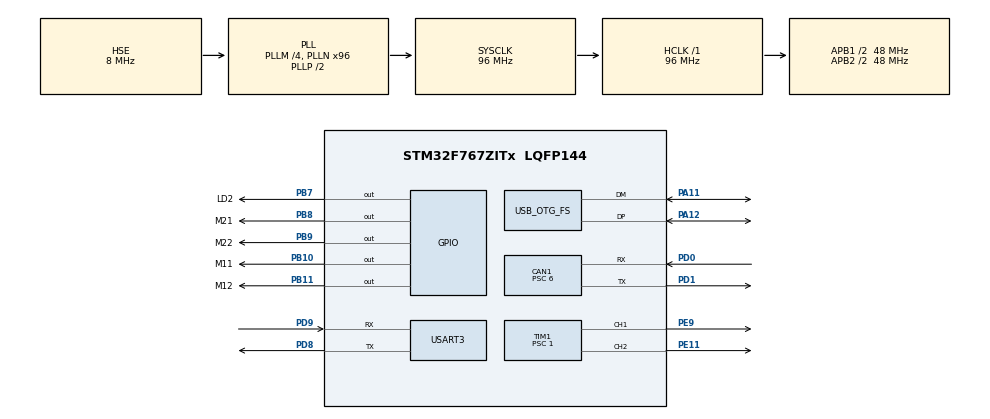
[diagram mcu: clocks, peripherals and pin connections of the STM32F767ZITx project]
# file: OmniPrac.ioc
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CAN1.BS1=CAN_BS1_6TQ
CAN1.CalculateBaudRate=1000000
CAN1.CalculateTimeBit=1000
CAN1.CalculateTimeQuantum=125.0
CAN1.Prescaler=6
CAN1.TXFP=ENABLE
Dma.Request0=USART3_RX
Dma.Request1=USART3_TX
Dma.USART3_RX.0.Direction=DMA_PERIPH_TO_MEMORY
Dma.USART3_RX.0.FIFOMode=DMA_FIFOMODE_DISABLE
Dma.USART3_RX.0.Instance=DMA1_Stream1
Dma.USART3_RX.0.MemDataAlignment=DMA_MDATAALIGN_BYTE
Dma.USART3_RX.0.MemInc=DMA_MINC_ENABLE
Dma.USART3_RX.0.Mode=DMA_CIRCULAR
Dma.USART3_RX.0.PeriphDataAlignment=DMA_PDATAALIGN_BYTE
Dma.USART3_RX.0.PeriphInc=DMA_PINC_DISABLE
Dma.USART3_RX.0.Priority=DMA_PRIORITY_VERY_HIGH
Dma.USART3_TX.1.Direction=DMA_MEMORY_TO_PERIPH
Dma.USART3_TX.1.FIFOMode=DMA_FIFOMODE_DISABLE
Dma.USART3_TX.1.Instance=DMA1_Stream3
Dma.USART3_TX.1.MemDataAlignment=DMA_MDATAALIGN_BYTE
Dma.USART3_TX.1.MemInc=DMA_MINC_ENABLE
Dma.USART3_TX.1.Mode=DMA_NORMAL
Dma.USART3_TX.1.PeriphDataAlignment=DMA_PDATAALIGN_BYTE
Dma.USART3_TX.1.PeriphInc=DMA_PINC_DISABLE
Dma.USART3_TX.1.Priority=DMA_PRIORITY_VERY_HIGH
FREERTOS.Tasks01=defaultTask,48,3000,StartDefaultTask,Default,NULL,Static,defaultTaskBuffer,defaultTaskControlBlock;SysCeckTask,8,512,StartSysCheckTask,Default,NULL,Static,SysCeckTaskBuffer,SysCeckTaskControlBlock;MotorRunTask,40,512,StartMotorRunTask,Default,NULL,Static,MotorRunTaskBuffer,MotorRunTaskControlBlock;EncorderTask,40,512,StartEncorderTask,Default,NULL,Static,EncorderTaskBuffer,EncorderTaskControlBlock
Mcu.Family=STM32F7
Mcu.Name=STM32F767ZITx
Mcu.Package=LQFP144
NVIC.CAN1_RX0_IRQn=true\:5\:0\:false\:false\:true\:true\:true\:true\:true
NVIC.CAN1_RX1_IRQn=true\:5\:0\:false\:false\:true\:true\:true\:true\:true
NVIC.CAN1_TX_IRQn=true\:5\:0\:false\:false\:true\:true\:true\:true\:true
NVIC.DMA1_Stream1_IRQn=true\:5\:0\:false\:false\:true\:true\:false\:true\:true
NVIC.DMA1_Stream3_IRQn=true\:5\:0\:false\:false\:true\:true\:false\:true\:true
NVIC.OTG_FS_IRQn=true\:5\:0\:false\:false\:true\:true\:false\:true\:true
NVIC.PriorityGroup=NVIC_PRIORITYGROUP_4
NVIC.TIM2_IRQn=true\:15\:0\:false\:false\:true\:false\:false\:true\:true
NVIC.TimeBase=TIM2_IRQn
NVIC.TimeBaseIP=TIM2
NVIC.USART3_IRQn=true\:5\:0\:false\:false\:true\:true\:true\:true\:true
PA11.Mode=Device_Only
PA11.Signal=USB_OTG_FS_DM
PA12.Mode=Device_Only
PA12.Signal=USB_OTG_FS_DP
PB10.GPIO_Label=M11
PB10.Signal=GPIO_Output
PB11.GPIO_Label=M12
PB11.Signal=GPIO_Output
PB7.GPIO_Label=LD2
PB7.Signal=GPIO_Output
PB8.GPIO_Label=M21
PB8.Signal=GPIO_Output
PB9.GPIO_Label=M22
PB9.Signal=GPIO_Output
PD0.Mode=CAN_Activate
PD0.Signal=CAN1_RX
PD1.Mode=CAN_Activate
PD1.Signal=CAN1_TX
PD8.Mode=Asynchronous
PD8.Signal=USART3_TX
PD9.Mode=Asynchronous
PD9.Signal=USART3_RX
PE11.Signal=S_TIM1_CH2
PE9.Signal=S_TIM1_CH1
PH0/OSC_IN.Mode=HSE-External-Oscillator
PH0/OSC_IN.Signal=RCC_OSC_IN
PH1/OSC_OUT.Mode=HSE-External-Oscillator
PH1/OSC_OUT.Signal=RCC_OSC_OUT
ProjectManager.HeapSize=0x200
ProjectManager.StackSize=0x400
ProjectManager.TargetToolchain=STM32CubeIDE
RCC.AHBFreq_Value=96000000
RCC.APB1CLKDivider=RCC_HCLK_DIV2
RCC.APB1Freq_Value=48000000
RCC.APB1TimFreq_Value=96000000
RCC.APB2CLKDivider=RCC_HCLK_DIV2
RCC.APB2Freq_Value=48000000
RCC.APB2TimFreq_Value=96000000
RCC.CortexFreq_Value=96000000
RCC.HCLKFreq_Value=96000000
RCC.HSE_VALUE=8000000
RCC.HSI_VALUE=16000000
RCC.LSE_VALUE=32768
RCC.PLLM=4
RCC.PLLN=96
RCC.PLLQ=4
RCC.SYSCLKFreq_VALUE=96000000
RCC.SYSCLKSource=RCC_SYSCLKSOURCE_PLLCLK
RCC.USBFreq_Value=48000000
RCC.VCOOutputFreq_Value=192000000
SH.S_TIM1_CH1.0=TIM1_CH1,PWM Generation1 CH1
SH.S_TIM1_CH2.0=TIM1_CH2,PWM Generation2 CH2
TIM1.Channel-PWM\ Generation1\ CH1=TIM_CHANNEL_1
TIM1.Channel-PWM\ Generation2\ CH2=TIM_CHANNEL_2
TIM1.Period=500
TIM1.Prescaler=1
USART3.VirtualMode-Asynchronous=VM_ASYNC
USB_DEVICE.CLASS_NAME_FS=CDC
USB_DEVICE.VirtualMode-CDC_FS=Cdc
USB_DEVICE.VirtualModeFS=Cdc_FS
USB_OTG_FS.VirtualMode=Device_Only
VP_FREERTOS_VS_CMSIS_V2.Mode=CMSIS_V2
VP_SYS_VS_tim2.Mode=TIM2
VP_USB_DEVICE_VS_USB_DEVICE_CDC_FS.Mode=CDC_FS
board=custom

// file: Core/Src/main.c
/* USER CODE BEGIN Header */
/**
  ******************************************************************************
  * @file           : main.c
  * @brief          : Main program body
  ******************************************************************************
  * @attention
  *
  * Copyright (c) 2023 STMicroelectronics.
  * All rights reserved.
  *
  * This software is licensed under terms that can be found in the LICENSE file
  * in the root directory of this software component.
  * If no LICENSE file comes with this software, it is provided AS-IS.
  *
  ******************************************************************************
  */
/* USER CODE END Header */
#include "main.h"
#include "cmsis_os.h"
#include "can.h"
#include "dma.h"
#include "tim.h"
#include "usart.h"
#include "usb_device.h"
#include "gpio.h"

/* USER CODE BEGIN Includes */
#include "stdio.h"
#include "CAN_Main.h"
/* USER CODE END Includes */

void SystemClock_Config(void);
void MX_FREERTOS_Init(void);

/* USER CODE BEGIN 0 */
#ifdef __GNUC__
#define PUTCHAR_PROTOTYPE int __io_putchar(uint8_t ch)
#else
#define PUTCHAR_PROTOTYPE int fputc(int ch, FILE *f)
#endif /* __GNUC__ */

PUTCHAR_PROTOTYPE {
    HAL_UART_Transmit(&huart3, &ch, 1, 500);
    return ch;
}

/* USER CODE END 0 */

int main(void)
{

  /* MCU Configuration--------------------------------------------------------*/

  /* Reset of all peripherals, Initializes the Flash interface and the Systick. */
  HAL_Init();

  /* Configure the system clock */
  SystemClock_Config();

  /* Initialize all configured peripherals */
  MX_GPIO_Init();
  MX_DMA_Init();
  MX_USART3_UART_Init();
  MX_TIM1_Init();
  MX_CAN1_Init();

  /* Init scheduler */
  osKernelInitialize();  /* Call init function for freertos objects (in freertos.c) */
  MX_FREERTOS_Init();

  /* Start scheduler */
  osKernelStart();

  /* We should never get here as control is now taken by the scheduler */
  /* Infinite loop */
  while (1)
  {

  }
}

void SystemClock_Config(void)
{
  RCC_OscInitTypeDef RCC_OscInitStruct = {0};
  RCC_ClkInitTypeDef RCC_ClkInitStruct = {0};

  /** Configure the main internal regulator output voltage
  */
  __HAL_RCC_PWR_CLK_ENABLE();
  __HAL_PWR_VOLTAGESCALING_CONFIG(PWR_REGULATOR_VOLTAGE_SCALE3);

  /** Initializes the RCC Oscillators according to the specified parameters
  * in the RCC_OscInitTypeDef structure.
  */
  RCC_OscInitStruct.OscillatorType = RCC_OSCILLATORTYPE_HSE;
  RCC_OscInitStruct.HSEState = RCC_HSE_ON;
  RCC_OscInitStruct.PLL.PLLState = RCC_PLL_ON;
  RCC_OscInitStruct.PLL.PLLSource = RCC_PLLSOURCE_HSE;
  RCC_OscInitStruct.PLL.PLLM = 4;
  RCC_OscInitStruct.PLL.PLLN = 96;
  RCC_OscInitStruct.PLL.PLLP = RCC_PLLP_DIV2;
  RCC_OscInitStruct.PLL.PLLQ = 4;
  RCC_OscInitStruct.PLL.PLLR = 2;
  if (HAL_RCC_OscConfig(&RCC_OscInitStruct) != HAL_OK)
  {
    Error_Handler();
  }

  /** Activate the Over-Drive mode
  */
  if (HAL_PWREx_EnableOverDrive() != HAL_OK)
  {
    Error_Handler();
  }

  /** Initializes the CPU, AHB and APB buses clocks
  */
  RCC_ClkInitStruct.ClockType = RCC_CLOCKTYPE_HCLK|RCC_CLOCKTYPE_SYSCLK
                              |RCC_CLOCKTYPE_PCLK1|RCC_CLOCKTYPE_PCLK2;
  RCC_ClkInitStruct.SYSCLKSource = RCC_SYSCLKSOURCE_PLLCLK;
  RCC_ClkInitStruct.AHBCLKDivider = RCC_SYSCLK_DIV1;
  RCC_ClkInitStruct.APB1CLKDivider = RCC_HCLK_DIV2;
  RCC_ClkInitStruct.APB2CLKDivider = RCC_HCLK_DIV2;

  if (HAL_RCC_ClockConfig(&RCC_ClkInitStruct, FLASH_LATENCY_3) != HAL_OK)
  {
    Error_Handler();
  }
}

void HAL_TIM_PeriodElapsedCallback(TIM_HandleTypeDef *htim)
{
  if (htim->Instance == TIM2) {
    HAL_IncTick();
  }
}

void Error_Handler(void)
{
  __disable_irq();
  while (1)
  {
  }
}

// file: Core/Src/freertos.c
/* USER CODE BEGIN Header */
/**
  ******************************************************************************
  * File Name          : freertos.c
  * Description        : Code for freertos applications
  ******************************************************************************
  * @attention
  *
  * Copyright (c) 2023 STMicroelectronics.
  * All rights reserved.
  *
  * This software is licensed under terms that can be found in the LICENSE file
  * in the root directory of this software component.
  * If no LICENSE file comes with this software, it is provided AS-IS.
  *
  ******************************************************************************
  */
/* USER CODE END Header */

#include "FreeRTOS.h"
#include "task.h"
#include "main.h"
#include "cmsis_os.h"

/* USER CODE BEGIN Includes */
#include <stdbool.h>
#include <rcl/rcl.h>
#include <rcl/error_handling.h>
#include <rclc/rclc.h>
#include <rclc/executor.h>
#include <uxr/client/transport.h>
#include <rmw_microxrcedds_c/config.h>
#include <rmw_microros/rmw_microros.h>
#include <std_msgs/msg/int32.h>
#include <std_msgs/msg/string.h>
#include <geometry_msgs/msg/twist.h>
#include "usart.h"
#include "dma.h"
#include "tim.h"
#include "gpio.h"
// カスタムメッセージのインクルード
#include <custom_test_msgs/srv/add_three_ints.h>
#include <drive_msgs/msg/diff_drive.h>
#include <drive_msgs/msg/omni.h>
#include <drive_msgs/msg/omni_enc.h>

//canlibを使うためのinclude
#include "can.h"
#include "CAN_Main.h"
/* USER CODE END Includes */

typedef StaticTask_t osStaticThreadDef_t;

/* USER CODE BEGIN PD */
// エラーハンドリングのためのマクロを設定
#define RCCHECK(fn) { rcl_ret_t temp_rc = fn; if((temp_rc != RCL_RET_OK)){printf("Failed status on line %d: %d. Aborting.\n",__LINE__,(int)temp_rc);}}
#define RCSOFTCHECK(fn) { rcl_ret_t temp_rc = fn; if((temp_rc != RCL_RET_OK)){printf("Failed status on line %d: %d. Continuing.\n",__LINE__,(int)temp_rc);}}

/* USER CODE END PD */

/* USER CODE BEGIN PM */
// サービスのリクエストとレスポンスの構造体を定義
custom_test_msgs__srv__AddThreeInts_Request req;
custom_test_msgs__srv__AddThreeInts_Response res;
drive_msgs__msg__Omni sub;
std_msgs__msg__String pub;
drive_msgs__msg__OmniEnc enc;

//CANモジュール基盤の設定
NUM_OF_DEVICES num_of_devices;

//mcmdの設定
MCMD_HandleTypedef mcmd4M1_struct;
MCMD_Feedback_Typedef mcmdM1_fb;//MCMDM1からのフィードバックを受け取る構造体を定義
MCMD_HandleTypedef mcmd4M2_struct;
MCMD_Feedback_Typedef mcmdM2_fb;//MCMDM2からのフィードバックを受け取る構造体を定義
MCMD_HandleTypedef mcmd4M3_struct;
MCMD_Feedback_Typedef mcmdM3_fb;//MCMDM1からのフィードバックを受け取る構造体を定義
MCMD_HandleTypedef mcmd4M4_struct;
MCMD_Feedback_Typedef mcmdM4_fb;//MCMDM2からのフィードバックを受け取る構造体を定義
MCMD_HandleTypedef mcmd4M5_struct;
MCMD_Feedback_Typedef mcmdM5_fb;//MCMDM2からのフィードバックを受け取る構造体を定義
MCMD_HandleTypedef mcmd4M6_struct;
MCMD_Feedback_Typedef mcmdM6_fb;//MCMDM2からのフィードバックを受け取る構造体を定義

//サーボの設定
CANServo_Param_Typedef servo_param;
CAN_Device servo_device;

//エアシリの設定
CAN_Device air_device;
/* USER CODE END PM */

/* USER CODE BEGIN Variables */
rcl_publisher_t publisher;
rcl_publisher_t encpublisher;
/* USER CODE END Variables */
/* Definitions for defaultTask */
osThreadId_t defaultTaskHandle;
uint32_t defaultTaskBuffer[ 3000 ];
osStaticThreadDef_t defaultTaskControlBlock;
const osThreadAttr_t defaultTask_attributes = {
  .name = "defaultTask",
  .cb_mem = &defaultTaskControlBlock,
  .cb_size = sizeof(defaultTaskControlBlock),
  .stack_mem = &defaultTaskBuffer[0],
  .stack_size = sizeof(defaultTaskBuffer),
  .priority = (osPriority_t) osPriorityRealtime,
};
/* Definitions for SysCeckTask */
osThreadId_t SysCeckTaskHandle;
uint32_t SysCeckTaskBuffer[ 512 ];
osStaticThreadDef_t SysCeckTaskControlBlock;
const osThreadAttr_t SysCeckTask_attributes = {
  .name = "SysCeckTask",
  .cb_mem = &SysCeckTaskControlBlock,
  .cb_size = sizeof(SysCeckTaskControlBlock),
  .stack_mem = &SysCeckTaskBuffer[0],
  .stack_size = sizeof(SysCeckTaskBuffer),
  .priority = (osPriority_t) osPriorityLow,
};
/* Definitions for MotorRunTask */
osThreadId_t MotorRunTaskHandle;
uint32_t MotorRunTaskBuffer[ 512 ];
osStaticThreadDef_t MotorRunTaskControlBlock;
const osThreadAttr_t MotorRunTask_attributes = {
  .name = "MotorRunTask",
  .cb_mem = &MotorRunTaskControlBlock,
  .cb_size = sizeof(MotorRunTaskControlBlock),
  .stack_mem = &MotorRunTaskBuffer[0],
  .stack_size = sizeof(MotorRunTaskBuffer),
  .priority = (osPriority_t) osPriorityHigh,
};
/* Definitions for EncorderTask */
osThreadId_t EncorderTaskHandle;
uint32_t EncorderTaskBuffer[ 512 ];
osStaticThreadDef_t EncorderTaskControlBlock;
const osThreadAttr_t EncorderTask_attributes = {
  .name = "EncorderTask",
  .cb_mem = &EncorderTaskControlBlock,
  .cb_size = sizeof(EncorderTaskControlBlock),
  .stack_mem = &EncorderTaskBuffer[0],
  .stack_size = sizeof(EncorderTaskBuffer),
  .priority = (osPriority_t) osPriorityHigh,
};

/* USER CODE BEGIN FunctionPrototypes */
//このコード固有の変数
bool finishCANsetting = false;
float cmd_motor[4] = {0,0,0,0};

bool cubemx_transport_open(struct uxrCustomTransport * transport);
bool cubemx_transport_close(struct uxrCustomTransport * transport);
size_t cubemx_transport_write(struct uxrCustomTransport* transport, const uint8_t * buf, size_t len, uint8_t * err);
size_t cubemx_transport_read(struct uxrCustomTransport* transport, uint8_t* buf, size_t len, int timeout, uint8_t* err);
void * microros_allocate(size_t size, void * state);
void microros_deallocate(void * pointer, void * state);
void * microros_reallocate(void * pointer, size_t size, void * state);
void * microros_zero_allocate(size_t number_of_elements, size_t size_of_element, void * state);

void HAL_CAN_TxMailbox0CompleteCallback(CAN_HandleTypeDef *hcan){
    WhenTxMailbox0_1_2CompleteCallbackCalled();
}

void HAL_CAN_TxMailbox0AbortCallback(CAN_HandleTypeDef *hcan){
    WhenTxMailbox0_1_2AbortCallbackCalled();
}

void HAL_CAN_TxMailbox1CompleteCallback(CAN_HandleTypeDef *hcan){
    WhenTxMailbox0_1_2CompleteCallbackCalled();
}

void HAL_CAN_TxMailbox1AbortCallback(CAN_HandleTypeDef *hcan){
    WhenTxMailbox0_1_2AbortCallbackCalled();
}

void HAL_CAN_TxMailbox2CompleteCallback(CAN_HandleTypeDef *hcan){
    WhenTxMailbox0_1_2CompleteCallbackCalled();
}

void HAL_CAN_TxMailbox2AbortCallback(CAN_HandleTypeDef *hcan){
    WhenTxMailbox0_1_2AbortCallbackCalled();
}

void HAL_CAN_RxFifo0MsgPendingCallback(CAN_HandleTypeDef *hcan){
    WhenCANRxFifo0MsgPending(hcan, &num_of_devices);
}
//can通信の設定
void canSetting(){
	printf("Start Initializing CAN System:Begin\n\r");
	HAL_Delay(10);

	CAN_SystemInit(&hcan1); // F7のCAN通信のinit

	// デバイス数の設定
	num_of_devices.mcmd3 = 3;
	num_of_devices.mcmd4 = 0;
	num_of_devices.air = 0;
	num_of_devices.servo = 0;

	printf("Start Initializing CAN System:End\n\r");
	HAL_Delay(10);
	CAN_WaitConnect(&num_of_devices);  // 設定された全てのCANモジュール基板との接続が確認できるまで待機
}

//モータ1のmcmd設定
void mcmdMoter1Setting(){
	    // 接続先のMCMDの設定
	    mcmd4M1_struct.device.node_type = NODE_MCMD3;  // nodeのタイプ
	    mcmd4M1_struct.device.node_id = 0;  // 基板の番号 (基板上の半固定抵抗を回す事で設定できる)
	    mcmd4M1_struct.device.device_num = 0;  // モーターの番号(0→M1,1→M2)

	    // 制御パラメータの設定
	    mcmd4M1_struct.ctrl_param.ctrl_type = MCMD_CTRL_VEL;  //制御タイプを設定
	    mcmd4M1_struct.ctrl_param.PID_param.kp = 0.075f;
	    mcmd4M1_struct.ctrl_param.PID_param.ki = 0.025f;
	    mcmd4M1_struct.ctrl_param.PID_param.kd = 0.01f;
	    mcmd4M1_struct.ctrl_param.accel_limit = ACCEL_LIMIT_ENABLE;  // PIDの偏差をclipするか
	    mcmd4M1_struct.ctrl_param.accel_limit_size = 2.0f;  // PIDの偏差をclipする場合の絶対値のmax値
	    mcmd4M1_struct.ctrl_param.feedback = MCMD_FB_ENABLE;  // MCMDからF7にフィードバックを送信するか否か
	    mcmd4M1_struct.ctrl_param.timup_monitor = TIMUP_MONITOR_DISABLE;  // timeupは未実装なのでDISABLE。
	    mcmd4M1_struct.enc_dir = MCMD_DIR_FW;  // Encoderの回転方向設定
	    mcmd4M1_struct.rot_dir = MCMD_DIR_FW;  // モーターの回転方向設定
	    mcmd4M1_struct.quant_per_unit = 1.0/1024.0f; 	 // エンコーダーの分解能に対する制御値の変化量の割合

	    // 原点サーチの設定
	    mcmd4M1_struct.limit_sw_type = LIMIT_SW_NO;  // 原点サーチにNomaly Closedのスイッチを用いる
	    mcmd4M1_struct.calib = CALIBRATION_DISABLE;  // 原点サーチを行うかどうか。
	    mcmd4M1_struct.calib_duty = -0.2f;  // 原点サーチ時のduty
	    mcmd4M1_struct.offset = 0.0f;  // 原点のオフセット
	    mcmd4M1_struct.fb_type = MCMD_FB_POS;  // 読み取った位置情報をF7にフィードバックする。

	    // パラメータなどの設定と動作命令をMCMDに送信する
		 MCMD_init(&mcmd4M1_struct);
		 HAL_Delay(10);
		 MCMD_Calib(&mcmd4M1_struct);  // キャリブレーションを行う
		 HAL_Delay(50);  // キャリブレーションが終わるまで待つ
		 MCMD_SetTarget(&mcmd4M1_struct, 0.00f);  // 目標値を設定
		 MCMD_Control_Enable(&mcmd4M1_struct);  // 制御開始
}

//モータ2のmcmd設定
void mcmdMoter2Setting(){
	    // 接続先のMCMDの設定
	    mcmd4M2_struct.device.node_type = NODE_MCMD3;  // nodeのタイプ
	    mcmd4M2_struct.device.node_id = 0;  // 基板の番号 (基板上の半固定抵抗を回す事で設定できる)
	    mcmd4M2_struct.device.device_num = 1;  // モーターの番号(0→M1,1→M2)

	    // 制御パラメータの設定
	    mcmd4M2_struct.ctrl_param.ctrl_type = MCMD_CTRL_VEL;  //制御タイプを設定
	    mcmd4M2_struct.ctrl_param.PID_param.kp = 0.075f;
	    mcmd4M2_struct.ctrl_param.PID_param.ki = 0.025f;
	    mcmd4M2_struct.ctrl_param.PID_param.kd = 0.01f;
	    mcmd4M2_struct.ctrl_param.accel_limit = ACCEL_LIMIT_ENABLE;  // PIDの偏差をclipするか
	    mcmd4M2_struct.ctrl_param.accel_limit_size = 2.0f;  // PIDの偏差をclipする場合の絶対値のmax値
	    mcmd4M2_struct.ctrl_param.feedback = MCMD_FB_ENABLE;  // MCMDからF7にフィードバックを送信するか否か
	    mcmd4M2_struct.ctrl_param.timup_monitor = TIMUP_MONITOR_DISABLE;  // timeupは未実装なのでDISABLE。
	    mcmd4M2_struct.enc_dir = MCMD_DIR_FW;  // Encoderの回転方向設定
	    mcmd4M2_struct.rot_dir = MCMD_DIR_FW;  // モーターの回転方向設定
	    mcmd4M2_struct.quant_per_unit = 1.0/1024.0f;  // エンコーダーの分解能に対する制御値の変化量の割合

	    // 原点サーチの設定
	    mcmd4M2_struct.limit_sw_type = LIMIT_SW_NO;  // 原点サーチにNomaly Closedのスイッチを用いる
	    mcmd4M2_struct.calib = CALIBRATION_DISABLE;  // 原点サーチを行うかどうか。
	    mcmd4M2_struct.calib_duty = -0.2f;  // 原点サーチ時のduty
	    mcmd4M2_struct.offset = 0.0f;  // 原点のオフセット
	    mcmd4M2_struct.fb_type = MCMD_FB_POS;  // 読み取った位置情報をF7にフィードバックする。

	    // パラメータなどの設定と動作命令をMCMDに送信する
		 MCMD_init(&mcmd4M2_struct);
		 HAL_Delay(10);
		 MCMD_Calib(&mcmd4M2_struct);  // キャリブレーションを行う
		 HAL_Delay(50);  // キャリブレーションが終わるまで待つ
		 MCMD_SetTarget(&mcmd4M2_struct, 0.00f);  // 目標値を設定
		 MCMD_Control_Enable(&mcmd4M2_struct);  // 制御開始
}

void mcmdMoter3Setting(){ //モーターの回転方向異常
	    // 接続先のMCMDの設定
	    mcmd4M3_struct.device.node_type = NODE_MCMD3;  // nodeのタイプ
	    mcmd4M3_struct.device.node_id = 5;  // 基板の番号 (基板上の半固定抵抗を回す事で設定できる)
	    mcmd4M3_struct.device.device_num = 1;  // モーターの番号(0→M1,1→M2)

	    // 制御パラメータの設定
	    mcmd4M3_struct.ctrl_param.ctrl_type = MCMD_CTRL_VEL;  //制御タイプを設定
	    mcmd4M3_struct.ctrl_param.PID_param.kp = 0.075f;
	    mcmd4M3_struct.ctrl_param.PID_param.ki = 0.025f;
	    mcmd4M3_struct.ctrl_param.PID_param.kd = 0.01f;
	    mcmd4M3_struct.ctrl_param.accel_limit = ACCEL_LIMIT_ENABLE;  // PIDの偏差をclipするか
	    mcmd4M3_struct.ctrl_param.accel_limit_size = 2.0f;  // PIDの偏差をclipする場合の絶対値のmax値
	    mcmd4M3_struct.ctrl_param.feedback = MCMD_FB_ENABLE;  // MCMDからF7にフィードバックを送信するか否か
	    mcmd4M3_struct.ctrl_param.timup_monitor = TIMUP_MONITOR_DISABLE;  // timeupは未実装なのでDISABLE。
	    mcmd4M3_struct.enc_dir = MCMD_DIR_FW;  // Encoderの回転方向設定
	    mcmd4M3_struct.rot_dir = MCMD_DIR_BC;  // モーターの回転方向設定
	    mcmd4M3_struct.quant_per_unit = 1.0/1024.0f;   // エンコーダーの分解能に対する制御値の変化量の割合

	    // 原点サーチの設定
	    mcmd4M3_struct.limit_sw_type = LIMIT_SW_NO;  // 原点サーチにNomaly Closedのスイッチを用いる
	    mcmd4M3_struct.calib = CALIBRATION_DISABLE;  // 原点サーチを行うかどうか。
	    mcmd4M3_struct.calib_duty = -0.2f;  // 原点サーチ時のduty
	    mcmd4M3_struct.offset = 0.0f;  // 原点のオフセット
	    mcmd4M3_struct.fb_type = MCMD_FB_POS;  // 読み取った位置情報をF7にフィードバックする。

	    // パラメータなどの設定と動作命令をMCMDに送信する
		 MCMD_init(&mcmd4M3_struct);
		 HAL_Delay(10);
		 MCMD_Calib(&mcmd4M3_struct);  // キャリブレーションを行う
		 HAL_Delay(50);  // キャリブレーションが終わるまで待つ
		 MCMD_SetTarget(&mcmd4M3_struct, 0.00f);  // 目標値を設定
		 MCMD_Control_Enable(&mcmd4M3_struct);  // 制御開始
}

void mcmdMoter4Setting(){
	    // 接続先のMCMDの設定
	    mcmd4M4_struct.device.node_type = NODE_MCMD3;  // nodeのタイプ
	    mcmd4M4_struct.device.node_id =5;  // 基板の番号 (基板上の半固定抵抗を回す事で設定できる)
	    mcmd4M4_struct.device.device_num = 0;  // モーターの番号(0→M1,1→M2)

	    // 制御パラメータの設定
	    mcmd4M4_struct.ctrl_param.ctrl_type = MCMD_CTRL_VEL;  //制御タイプを設定
	    mcmd4M4_struct.ctrl_param.PID_param.kp = 0.075f;
	    mcmd4M4_struct.ctrl_param.PID_param.ki = 0.025f;
	    mcmd4M4_struct.ctrl_param.PID_param.kd = 0.01f;
	    mcmd4M4_struct.ctrl_param.accel_limit = ACCEL_LIMIT_ENABLE;  // PIDの偏差をclipするか
	    mcmd4M4_struct.ctrl_param.accel_limit_size = 2.0f;  // PIDの偏差をclipする場合の絶対値のmax値
	    mcmd4M4_struct.ctrl_param.feedback = MCMD_FB_ENABLE;  // MCMDからF7にフィードバックを送信するか否か
	    mcmd4M4_struct.ctrl_param.timup_monitor = TIMUP_MONITOR_DISABLE;  // timeupは未実装なのでDISABLE。
	    mcmd4M4_struct.enc_dir = MCMD_DIR_FW;  // Encoderの回転方向設定
	    mcmd4M4_struct.rot_dir = MCMD_DIR_FW;  // モーターの回転方向設定
	    mcmd4M4_struct.quant_per_unit = 1.0/1024.0f;   // エンコーダーの分解能に対する制御値の変化量の割合

	    // 原点サーチの設定
	    mcmd4M4_struct.limit_sw_type = LIMIT_SW_NO;  // 原点サーチにNomaly Closedのスイッチを用いる
	    mcmd4M4_struct.calib = CALIBRATION_DISABLE;  // 原点サーチを行うかどうか。
	    mcmd4M4_struct.calib_duty = -0.2f;  // 原点サーチ時のduty
	    mcmd4M4_struct.offset = 0.0f;  // 原点のオフセット
	    mcmd4M4_struct.fb_type = MCMD_FB_POS;  // 読み取った位置情報をF7にフィードバックする。

	    // パラメータなどの設定と動作命令をMCMDに送信する
		 MCMD_init(&mcmd4M4_struct);
		 HAL_Delay(10);
		 MCMD_Calib(&mcmd4M4_struct);  // キャリブレーションを行う
		 HAL_Delay(50);  // キャリブレーションが終わるまで待つ
		 MCMD_SetTarget(&mcmd4M4_struct, 0.00f);  // 目標値を設定
		 MCMD_Control_Enable(&mcmd4M4_struct);  // 制御開始
}

void mcmdMoter5Setting(){
	    // 接続先のMCMDの設定
	    mcmd4M5_struct.device.node_type = NODE_MCMD3;  // nodeのタイプ
	    mcmd4M5_struct.device.node_id =1;  // 基板の番号 (基板上の半固定抵抗を回す事で設定できる)
	    mcmd4M5_struct.device.device_num = 0;  // モーターの番号(0→M1,1→M2)

	    // 制御パラメータの設定
	    mcmd4M5_struct.ctrl_param.ctrl_type = MCMD_CTRL_VEL;  //制御タイプを設定
	    mcmd4M5_struct.ctrl_param.PID_param.kp = 0.075f;
	    mcmd4M5_struct.ctrl_param.PID_param.ki = 0.025f;
	    mcmd4M5_struct.ctrl_param.PID_param.kd = 0.01f;
	    mcmd4M5_struct.ctrl_param.accel_limit = ACCEL_LIMIT_ENABLE;  // PIDの偏差をclipするか
	    mcmd4M5_struct.ctrl_param.accel_limit_size = 2.0f;  // PIDの偏差をclipする場合の絶対値のmax値
	    mcmd4M5_struct.ctrl_param.feedback = MCMD_FB_ENABLE;  // MCMDからF7にフィードバックを送信するか否か
	    mcmd4M5_struct.ctrl_param.timup_monitor = TIMUP_MONITOR_DISABLE;  // timeupは未実装なのでDISABLE。
	    mcmd4M5_struct.enc_dir = MCMD_DIR_BC;  // Encoderの回転方向設定
	    mcmd4M5_struct.rot_dir = MCMD_DIR_BC;  // モーターの回転方向設定
	    mcmd4M5_struct.quant_per_unit = 1.0/1024.0f;  // エンコーダーの分解能に対する制御値の変化量の割合

	    // 原点サーチの設定
	    mcmd4M5_struct.limit_sw_type = LIMIT_SW_NO;  // 原点サーチにNomaly Closedのスイッチを用いる
	    mcmd4M5_struct.calib = CALIBRATION_DISABLE;  // 原点サーチを行うかどうか。
	    mcmd4M5_struct.calib_duty = -0.2f;  // 原点サーチ時のduty
	    mcmd4M5_struct.offset = 0.0f;  // 原点のオフセット
	    mcmd4M5_struct.fb_type = MCMD_FB_POS;  // 読み取った位置情報をF7にフィードバックする。

	    // パラメータなどの設定と動作命令をMCMDに送信する
		 MCMD_init(&mcmd4M5_struct);
		 HAL_Delay(10);
		 MCMD_Calib(&mcmd4M5_struct);  // キャリブレーションを行う
		 HAL_Delay(50);  // キャリブレーションが終わるまで待つ
		 MCMD_SetTarget(&mcmd4M5_struct, 0.00f);  // 目標値を設定
		 MCMD_Control_Enable(&mcmd4M5_struct);  // 制御開始
}

void mcmdMoter6Setting(){
	    // 接続先のMCMDの設定
	    mcmd4M6_struct.device.node_type = NODE_MCMD3;  // nodeのタイプ
	    mcmd4M6_struct.device.node_id =1;  // 基板の番号 (基板上の半固定抵抗を回す事で設定できる)
	    mcmd4M6_struct.device.device_num = 1;  // モーターの番号(0→M1,1→M2)

	    // 制御パラメータの設定
	    mcmd4M6_struct.ctrl_param.ctrl_type = MCMD_CTRL_VEL;  //制御タイプを設定
	    mcmd4M6_struct.ctrl_param.PID_param.kp = 0.075f;
	    mcmd4M6_struct.ctrl_param.PID_param.ki = 0.025f;
	    mcmd4M6_struct.ctrl_param.PID_param.kd = 0.01f;
	    mcmd4M6_struct.ctrl_param.accel_limit = ACCEL_LIMIT_ENABLE;  // PIDの偏差をclipするか
	    mcmd4M6_struct.ctrl_param.accel_limit_size = 2.0f;  // PIDの偏差をclipする場合の絶対値のmax値
	    mcmd4M6_struct.ctrl_param.feedback = MCMD_FB_ENABLE;  // MCMDからF7にフィードバックを送信するか否か
	    mcmd4M6_struct.ctrl_param.timup_monitor = TIMUP_MONITOR_DISABLE;  // timeupは未実装なのでDISABLE。
	    mcmd4M6_struct.enc_dir = MCMD_DIR_FW;  // Encoderの回転方向設定
	    mcmd4M6_struct.rot_dir = MCMD_DIR_BC;  // モーターの回転方向設定
	    mcmd4M6_struct.quant_per_unit = 1.0/1024.0f;  // エンコーダーの分解能に対する制御値の変化量の割合

	    // 原点サーチの設定
	    mcmd4M6_struct.limit_sw_type = LIMIT_SW_NO;  // 原点サーチにNomaly Closedのスイッチを用いる
	    mcmd4M6_struct.calib = CALIBRATION_DISABLE;  // 原点サーチを行うかどうか。
	    mcmd4M6_struct.calib_duty = -0.2f;  // 原点サーチ時のduty
	    mcmd4M6_struct.offset = 0.0f;  // 原点のオフセット
	    mcmd4M6_struct.fb_type = MCMD_FB_POS;  // 読み取った位置情報をF7にフィードバックする。

	    // パラメータなどの設定と動作命令をMCMDに送信する
		 MCMD_init(&mcmd4M6_struct);
		 HAL_Delay(10);
		 MCMD_Calib(&mcmd4M6_struct);  // キャリブレーションを行う
		 HAL_Delay(50);  // キャリブレーションが終わるまで待つ
		 MCMD_SetTarget(&mcmd4M6_struct, 0.00f);  // 目標値を設定
		 MCMD_Control_Enable(&mcmd4M6_struct);  // 制御開始
}

//サーボ基盤設定
void servoSetting(){
	// Servo基板のdevice設定
	servo_device.node_type = NODE_SERVO;
	servo_device.node_id = 0;
	servo_device.device_num = 0;//0~3を指定する

	// Servo基板のパラメータ (offset以外はあまり変更しない)
	servo_param.angle_range=270.0f;//サーボの動作範囲
	servo_param.angle_offset=0.0f;//原点の位置
	servo_param.pulse_width_max=2.4f;//サーボの制御のPWM信号のパルス幅の最大値
	servo_param.pulse_width_min=0.5f;//サーボの制御のPWM信号のパルス幅の最小値
	servo_param.pwm_frequency=50;//PWM周波数（この変更は未実装
}

//エアシリ基盤設定
void airSetting(){
	air_device.node_type = NODE_AIR; //エアシリンダ基盤であることを示す
	air_device.node_id = 0; //基板の番号

	//初期化
	 for(uint8_t i=PORT_1; i<=PORT_8; i++){  //すべてのポートを初期化しないとAir基板は動かない
		air_device.device_num = i; // (i番ポートを指定)
		AirCylinder_Init(&air_device, AIR_OFF);
		HAL_Delay(10);  // このdelayは必要
	 }
}
/* USER CODE END FunctionPrototypes */

void StartDefaultTask(void *argument);
void StartSysCheckTask(void *argument);
void StartMotorRunTask(void *argument);
void StartEncorderTask(void *argument);

extern void MX_USB_DEVICE_Init(void);
void MX_FREERTOS_Init(void); /* (MISRA C 2004 rule 8.1) */

void MX_FREERTOS_Init(void) {

  /* Create the thread(s) */
  /* creation of defaultTask */
  defaultTaskHandle = osThreadNew(StartDefaultTask, NULL, &defaultTask_attributes);

  /* creation of SysCeckTask */
  SysCeckTaskHandle = osThreadNew(StartSysCheckTask, NULL, &SysCeckTask_attributes);

  /* creation of MotorRunTask */
  MotorRunTaskHandle = osThreadNew(StartMotorRunTask, NULL, &MotorRunTask_attributes);

  /* creation of EncorderTask */
  EncorderTaskHandle = osThreadNew(StartEncorderTask, NULL, &EncorderTask_attributes);

}

/* USER CODE BEGIN Header_StartDefaultTask */
/**
  * @brief  Function implementing the defaultTask thread.
  * @param  argument: Not used
  * @retval None
  */
int count = 1;

// サービスのコールバック関数を定義
void service_callback(const void *request, void *response)
{
	// リクエストとレスポンスを適切な型にキャスト
	custom_test_msgs__srv__AddThreeInts_Request *_req = (custom_test_msgs__srv__AddThreeInts_Request *)request;
	custom_test_msgs__srv__AddThreeInts_Response *_res = (custom_test_msgs__srv__AddThreeInts_Response *)response;
	// 1秒スリープ（重い処理の代わり）
	osDelay(1000);
	// レスポンスに合計値をセット
	_res->sum = _req->a + _req->b + _req->c;
}

void subscription_callback(const void * msgin)
{
	 // Cast received message to used type
	  const drive_msgs__msg__Omni * sub = (const drive_msgs__msg__Omni *)msgin;

	  cmd_motor[0] = sub->mfontright;
	  cmd_motor[1] = sub->mfrontleft;
	  cmd_motor[2] = sub->mbackright;
	  cmd_motor[3] = sub->mbackleft;
}
/* USER CODE END Header_StartDefaultTask */
void StartDefaultTask(void *argument)
{
  /* init code for USB_DEVICE */
  MX_USB_DEVICE_Init();
  /* USER CODE BEGIN StartDefaultTask */
  // micro-ROSの初期化
  	printf("start default task");
  	rmw_uros_set_custom_transport(
  	    true,
  	    (void *) &huart3,
  	    cubemx_transport_open,
  	    cubemx_transport_close,
  	    cubemx_transport_write,
  	    cubemx_transport_read);

  	rcl_allocator_t freeRTOS_allocator = rcutils_get_zero_initialized_allocator();
  	freeRTOS_allocator.allocate = microros_allocate;
  	freeRTOS_allocator.deallocate = microros_deallocate;
  	freeRTOS_allocator.reallocate = microros_reallocate;
  	freeRTOS_allocator.zero_allocate =  microros_zero_allocate;
  	if (!rcutils_set_default_allocator(&freeRTOS_allocator)) {
  		printf("Error on default allocators (line %d)\n", __LINE__);
  	}

      // ここからサービスサーバの実装
  	setvbuf(stdout, NULL, _IONBF, BUFSIZ);
  	rcl_init_options_t init_options = rcl_get_zero_initialized_init_options();
  	rcl_allocator_t allocator = rcl_get_default_allocator();
  	rclc_support_t support;
  	rcl_node_t node = rcl_get_zero_initialized_node();
  	rcl_service_t service = rcl_get_zero_initialized_service();
  	publisher = rcl_get_zero_initialized_publisher();
  	rcl_subscription_t subscriber = rcl_get_zero_initialized_subscription();
  	rclc_executor_t executor = rclc_executor_get_zero_initialized_executor();
  	rcl_node_options_t node_ops = rcl_node_get_default_options();

  	RCCHECK(rcl_init_options_init(&init_options, allocator));
      // ROS_DOMAIN_IDの設定。
  	RCCHECK(rcl_init_options_set_domain_id(&init_options, 0));
  	rclc_support_init_with_options(&support, 0, NULL, &init_options, &allocator);
      // ノードの作成
  	RCCHECK(rclc_node_init_with_options(&node, "f7_node", "", &support, &node_ops));
      // サービスの作成
  	RCCHECK(rclc_service_init_default(&service, &node, ROSIDL_GET_SRV_TYPE_SUPPORT(custom_test_msgs, srv, AddThreeInts), "add_three_ints"));

  	 //publisherの作成
	RCCHECK(rclc_publisher_init_default(
	  &publisher,
	  &node,
	  ROSIDL_GET_MSG_TYPE_SUPPORT(std_msgs, msg, String),
	  "/from_f767zi"));

	 //publisherの作成
		RCCHECK(rclc_publisher_init_default(
		  &encpublisher,
		  &node,
		  ROSIDL_GET_MSG_TYPE_SUPPORT(drive_msgs, msg, OmniEnc),
		  "/enc_val_f7"));

	 //subscriberの作成
		RCCHECK(rclc_subscription_init_default(
		  &subscriber,
		  &node,
		  ROSIDL_GET_MSG_TYPE_SUPPORT(drive_msgs, msg, Omni),
		  "/cmd_motor_f7"));
      // エグゼキューターの作成。三番目の引数はextecuterに登録するコールバック関数の数。
  	RCCHECK(rclc_executor_init(&executor, &support.context, 2, &allocator));

      // エグゼキューターにサービスを追加
  	RCCHECK(rclc_executor_add_service(&executor, &service, &req, &res, &service_callback));
  	RCCHECK(rclc_executor_add_subscription(
  		  &executor, &subscriber, &sub,
  		  &subscription_callback, ON_NEW_DATA));

    //配列データを扱うときの処理
    rosidl_runtime_c__String__init(&pub);
    char hello[] = "initialized from f7";
    rosidl_runtime_c__String__assignn(&pub.data, hello, sizeof(hello));

    RCSOFTCHECK(rcl_publish(&publisher, &pub, NULL));

    //初期化
    HAL_GPIO_WritePin(GPIOB, LD2_Pin, GPIO_PIN_RESET);

	//記事ではmcmdなどの初期化コードを描くことになっている場所
	canSetting();
	//servoSetting();
	mcmdMoter1Setting();
	mcmdMoter2Setting();
	mcmdMoter3Setting();
	mcmdMoter4Setting();
	mcmdMoter5Setting();
	mcmdMoter6Setting();
	//airSetting();
	printf("calibrationFinished\r\n");

	finishCANsetting = true;

  /* Infinite loop */
  for(;;)
  {
	  // エグゼキューターを実行してリクエストを処理
	  rclc_executor_spin_some(&executor, RCL_MS_TO_NS(100));
	  RCSOFTCHECK(rcl_publish(&encpublisher, &enc, NULL));

	  osDelay(10);
  }
  // 終了処理
  	RCCHECK(rcl_service_fini(&service, &node));
  	RCCHECK(rcl_service_fini(&publisher, &node));
  	RCCHECK(rcl_service_fini(&subscriber, &node));
  	RCCHECK(rcl_node_fini(&node));
  /* USER CODE END StartDefaultTask */
}

/* USER CODE BEGIN Header_StartSysCheckTask */
/**
* @brief Function implementing the SysCeckTask thread.
* @param argument: Not used
* @retval None
*/
bool finishCheck = false;
//freeRTOSの動作確認用
void freeRTOSChecker(){//無限ループの中で実行
	HAL_GPIO_TogglePin(GPIOB, LD2_Pin);  // PINのPin stateを反転
	printf("RTOSchecking\r\n");

}

//M1の動作確認用
void mcmdMoter1Checker(){
		 MCMD_SetTarget(&mcmd4M1_struct, 0.05f);  // 目標値を設定
		 printf("MCMDM1controllStart\r\n");
		 osDelay(2000);
		 MCMD_SetTarget(&mcmd4M1_struct, 0.00f);  // 目標値を設定
	}

//M2の動作確認用
void mcmdMoter2Checker(){
		 MCMD_SetTarget(&mcmd4M2_struct, 0.05f);  // 目標値を設定
		 printf("MCMDM2controllStart\r\n");
		 osDelay(2000);
		 MCMD_SetTarget(&mcmd4M2_struct, 0.00f);  // 目標値を設定
	}

//M3の動作確認用
void mcmdMoter3Checker(){
		 MCMD_SetTarget(&mcmd4M3_struct, 0.05f);  // 目標値を設定
		 printf("MCMDM3controllStart\r\n");
		 osDelay(2000);
		 MCMD_SetTarget(&mcmd4M3_struct, 0.00f);  // 目標値を設定
	}

//M4の動作確認用
void mcmdMoter4Checker(){
		 MCMD_SetTarget(&mcmd4M4_struct, 0.05f);  // 目標値を設定
		 printf("MCMDM4controllStart\r\n");
		 osDelay(2000);
		 MCMD_SetTarget(&mcmd4M4_struct, 0.00f);  // 目標値を設定
	}

//M5の動作確認用
void mcmdMoter5Checker(){
		 MCMD_SetTarget(&mcmd4M5_struct, 0.25f);  // 目標値を設定
		 printf("MCMDM5controllStart\r\n");
		 osDelay(2000);
		 //MCMD_SetTarget(&mcmd4M4_struct, 0.00f);  // 目標値を設定
	}

//M6の動作確認用
void mcmdMoter6Checker(){
		 MCMD_SetTarget(&mcmd4M6_struct, 0.05f);  // 目標値を設定
		 printf("MCMDM6controllStart\r\n");
		 osDelay(2000);
		 MCMD_SetTarget(&mcmd4M6_struct, 0.00f);  // 目標値を設定
	}

//M1のエンコーダー確認用
void mcmdEncorder1Checker(){//無限ループの中で実行
	mcmdM1_fb = Get_MCMD_Feedback(&(mcmd4M1_struct.device));
	printf("value of M1 %d\r\n",(int)(mcmdM1_fb.value));
}

//M2のエンコーダー確認用
void mcmdEncorder2Checker(){//無限ループの中で実行
	mcmdM2_fb = Get_MCMD_Feedback(&(mcmd4M2_struct.device));
	printf("value of M2 %d\r\n",(int)(mcmdM2_fb.value));
}

//M3のエンコーダー確認用
void mcmdEncorder3Checker(){//無限ループの中で実行
	mcmdM3_fb = Get_MCMD_Feedback(&(mcmd4M3_struct.device));
	printf("value of M3 %d\r\n",(int)(mcmdM3_fb.value));
}

//M4のエンコーダー確認用
void mcmdEncorder4Checker(){//無限ループの中で実行
	mcmdM4_fb = Get_MCMD_Feedback(&(mcmd4M4_struct.device));
	printf("value of M4 %d\r\n",(int)(mcmdM4_fb.value));
}

//M5のエンコーダー確認用
void mcmdEncorder5Checker(){//無限ループの中で実行
	mcmdM5_fb = Get_MCMD_Feedback(&(mcmd4M5_struct.device));
	printf("value of M5 %d\r\n",(int)(mcmdM5_fb.value));
}

//M6のエンコーダー確認用
void mcmdEncorder6Checker(){//無限ループの中で実行
	mcmdM6_fb = Get_MCMD_Feedback(&(mcmd4M6_struct.device));
	printf("value of M6 %d\r\n",(int)(mcmdM6_fb.value));
}

//サーボの動作確認用
void servoChecker(){
	ServoDriver_Init(&servo_device, &servo_param);  // Servo基板にパラメータを送信
	osDelay(100);  // 適切なdelayを入れる
	ServoDriver_SendValue(&servo_device, 20.0f);  // サーボが20.0度になるように回転させる
}

//エアシリの動作確認用
void airChecker(){
	for(uint8_t i=PORT_1; i<=PORT_8; i++){  //すべてのポートを初期化しないとAir基板は動かない
	    air_device.device_num = i; // (i番ポートを指定)
	    AirCylinder_Init(&air_device, AIR_OFF);
	    osDelay(10);  // このdelayは必要
	  }
	  air_device.device_num=0; // とりあえず0番ポートのエアシリンダを動かします。
	  AirCylinder_SendOutput(&air_device, AIR_ON);  // 0番ポートの電磁弁がonになる
	  osDelay(1000);
	  AirCylinder_SendOutput(&air_device, AIR_OFF); // 0番ポートの電磁弁がoffになる
	  osDelay(1000);
}
/* USER CODE END Header_StartSysCheckTask */
void StartSysCheckTask(void *argument)
{
  /* USER CODE BEGIN StartSysCheckTask */
  /* Infinite loop */
  for(;;)
  {
	  if(finishCANsetting){
		  if(!finishCheck){
		  		//mcmdMoter1Checker();
		  		//mcmdMoter2Checker();
		  		//mcmdMoter3Checker();
		  	    //mcmdMoter4Checker();
			    //mcmdMoter5Checker();
		  		//servoChecker();
		  		//airChecker();
		  		//osDelay(8000);
		  		finishCheck = true;
		  	  }
	  }
	  //freeRTOSChecker();
	  //mcmdEncorder1Checker();
	  //mcmdEncorder2Checker();
	  //mcmdEncorder3Checker();
	  //mcmdEncorder4Checker();
	  osDelay(1000);
  }
  /* USER CODE END StartSysCheckTask */
}

float velLimmit = 3.0f;
float velLimmiter(float input){
	if(input >= velLimmit){
		input = velLimmit;
	}
	return input;
}
void motorRun(){
	//初期化
	MCMD_SetTarget(&mcmd4M1_struct, 0.0f);
	MCMD_SetTarget(&mcmd4M2_struct, 0.0f);
	MCMD_SetTarget(&mcmd4M3_struct, 0.0f);
	MCMD_SetTarget(&mcmd4M4_struct, 0.0f);
	MCMD_SetTarget(&mcmd4M5_struct, 0.0f);
	MCMD_SetTarget(&mcmd4M6_struct, 0.0f);

	MCMD_SetTarget(&mcmd4M1_struct, velLimmiter(cmd_motor[0]));
	MCMD_SetTarget(&mcmd4M2_struct, velLimmiter(cmd_motor[1]));
	MCMD_SetTarget(&mcmd4M3_struct, velLimmiter(cmd_motor[2]));
	MCMD_SetTarget(&mcmd4M4_struct, velLimmiter(cmd_motor[3]));
	//MCMD_SetTarget(&mcmd4M5_struct, velLimmiter(cmd_motor[3]));
	//MCMD_SetTarget(&mcmd4M4_struct, velLimmiter(cmd_motor[3]));
}
void StartMotorRunTask(void *argument)
{
  /* USER CODE BEGIN StartMotorRunTask */
  /* Infinite loop */
  for(;;)
  {
	  motorRun();

    osDelay(10);
  }
  /* USER CODE END StartMotorRunTask */
}

void StartEncorderTask(void *argument)
{
  /* USER CODE BEGIN StartEncorderTask */
  /* Infinite loop */
  for(;;)
  {
	  enc.encfontright = Get_MCMD_Feedback(&(mcmd4M1_struct.device)).value;
	  enc.encfrontleft = Get_MCMD_Feedback(&(mcmd4M2_struct.device)).value;
	  enc.encbackright = Get_MCMD_Feedback(&(mcmd4M3_struct.device)).value;
	  enc.encbackleft = Get_MCMD_Feedback(&(mcmd4M4_struct.device)).value;
	  enc.enclx = Get_MCMD_Feedback(&(mcmd4M5_struct.device)).value;
	  enc.encly = 0.0f;
	  enc.encadditional = Get_MCMD_Feedback(&(mcmd4M6_struct.device)).value;

    osDelay(10);
  }
  /* USER CODE END StartEncorderTask */
}
